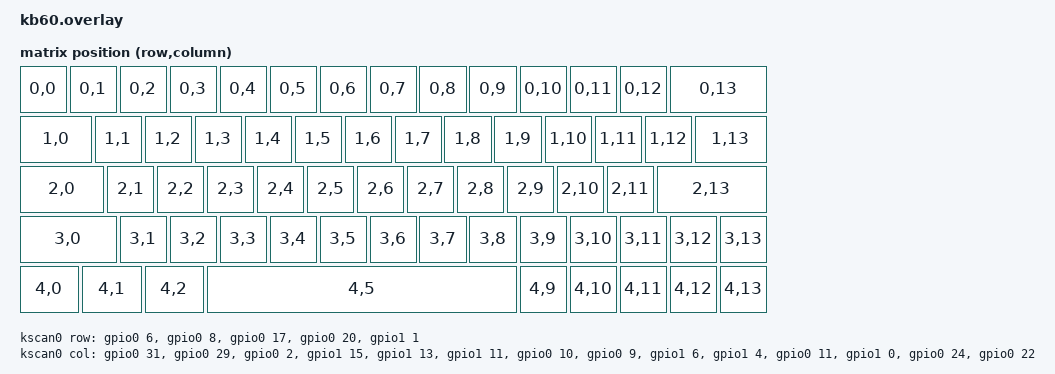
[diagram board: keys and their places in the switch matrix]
#include <dt-bindings/zmk/matrix_transform.h>
#include <physical_layouts.dtsi>

/*
 * 64-key ANSI with an arrow cluster, hand-wired 5 rows x 14 cols. The matrix
 * positions follow the original design (kanefron5/keyboard-manual,
 * LAYOUT_64_ansi): Enter is on col 13, Space on col 5, and the bottom-right
 * keys on cols 9-13.
 * Pins are raw nRF52840 GPIOs (silkscreen "0xx" = &gpio0 xx, "1xx" = &gpio1 xx).
 */
/ {
    chosen {
        zmk,kscan = &kscan0;
        zmk,physical-layout = &layout0;
    };

    kscan0: kscan0 {
        compatible = "zmk,kscan-gpio-matrix";
        diode-direction = "col2row";
        wakeup-source;

        col-gpios
            = <&gpio0 31 GPIO_ACTIVE_HIGH>
            , <&gpio0 29 GPIO_ACTIVE_HIGH>
            , <&gpio0 2 GPIO_ACTIVE_HIGH>
            , <&gpio1 15 GPIO_ACTIVE_HIGH>
            , <&gpio1 13 GPIO_ACTIVE_HIGH>
            , <&gpio1 11 GPIO_ACTIVE_HIGH>
            , <&gpio0 10 GPIO_ACTIVE_HIGH>
            , <&gpio0 9 GPIO_ACTIVE_HIGH>
            , <&gpio1 6 GPIO_ACTIVE_HIGH>
            , <&gpio1 4 GPIO_ACTIVE_HIGH>
            , <&gpio0 11 GPIO_ACTIVE_HIGH>
            , <&gpio1 0 GPIO_ACTIVE_HIGH>
            , <&gpio0 24 GPIO_ACTIVE_HIGH>
            , <&gpio0 22 GPIO_ACTIVE_HIGH>
            ;

        row-gpios
            = <&gpio0 6 (GPIO_ACTIVE_HIGH | GPIO_PULL_DOWN)>
            , <&gpio0 8 (GPIO_ACTIVE_HIGH | GPIO_PULL_DOWN)>
            , <&gpio0 17 (GPIO_ACTIVE_HIGH | GPIO_PULL_DOWN)>
            , <&gpio0 20 (GPIO_ACTIVE_HIGH | GPIO_PULL_DOWN)>
            , <&gpio1 1 (GPIO_ACTIVE_HIGH | GPIO_PULL_DOWN)>
            ;
    };

    xform: matrix_xform {
        compatible = "zmk,matrix-transform";
        columns = <14>;
        rows = <5>;

        map = <
            /* row 0: Esc 1 2 3 4 5 6 7 8 9 0 - = Bksp */
            RC(0,0) RC(0,1) RC(0,2) RC(0,3) RC(0,4) RC(0,5) RC(0,6) RC(0,7) RC(0,8) RC(0,9) RC(0,10) RC(0,11) RC(0,12) RC(0,13)
            /* row 1: Tab Q W E R T Y U I O P [ ] \ */
            RC(1,0) RC(1,1) RC(1,2) RC(1,3) RC(1,4) RC(1,5) RC(1,6) RC(1,7) RC(1,8) RC(1,9) RC(1,10) RC(1,11) RC(1,12) RC(1,13)
            /* row 2: Caps A S D F G H J K L ; ' Enter */
            RC(2,0) RC(2,1) RC(2,2) RC(2,3) RC(2,4) RC(2,5) RC(2,6) RC(2,7) RC(2,8) RC(2,9) RC(2,10) RC(2,11) RC(2,13)
            /* row 3: LShift Z X C V B N M , . / ` Up Del */
            RC(3,0) RC(3,1) RC(3,2) RC(3,3) RC(3,4) RC(3,5) RC(3,6) RC(3,7) RC(3,8) RC(3,9) RC(3,10) RC(3,11) RC(3,12) RC(3,13)
            /* row 4: LCtrl LGui LAlt Space RAlt Fn Left Down Right */
            RC(4,0) RC(4,1) RC(4,2) RC(4,5) RC(4,9) RC(4,10) RC(4,11) RC(4,12) RC(4,13)
        >;
    };

    layout0: layout0 {
        compatible = "zmk,physical-layout";
        display-name = "ANSI 64";
        transform = <&xform>;

        keys
            = <&key_physical_attrs 100 100    0   0 0 0 0>
            , <&key_physical_attrs 100 100  100   0 0 0 0>
            , <&key_physical_attrs 100 100  200   0 0 0 0>
            , <&key_physical_attrs 100 100  300   0 0 0 0>
            , <&key_physical_attrs 100 100  400   0 0 0 0>
            , <&key_physical_attrs 100 100  500   0 0 0 0>
            , <&key_physical_attrs 100 100  600   0 0 0 0>
            , <&key_physical_attrs 100 100  700   0 0 0 0>
            , <&key_physical_attrs 100 100  800   0 0 0 0>
            , <&key_physical_attrs 100 100  900   0 0 0 0>
            , <&key_physical_attrs 100 100 1000   0 0 0 0>
            , <&key_physical_attrs 100 100 1100   0 0 0 0>
            , <&key_physical_attrs 100 100 1200   0 0 0 0>
            , <&key_physical_attrs 200 100 1300   0 0 0 0>
            , <&key_physical_attrs 150 100    0 100 0 0 0>
            , <&key_physical_attrs 100 100  150 100 0 0 0>
            , <&key_physical_attrs 100 100  250 100 0 0 0>
            , <&key_physical_attrs 100 100  350 100 0 0 0>
            , <&key_physical_attrs 100 100  450 100 0 0 0>
            , <&key_physical_attrs 100 100  550 100 0 0 0>
            , <&key_physical_attrs 100 100  650 100 0 0 0>
            , <&key_physical_attrs 100 100  750 100 0 0 0>
            , <&key_physical_attrs 100 100  850 100 0 0 0>
            , <&key_physical_attrs 100 100  950 100 0 0 0>
            , <&key_physical_attrs 100 100 1050 100 0 0 0>
            , <&key_physical_attrs 100 100 1150 100 0 0 0>
            , <&key_physical_attrs 100 100 1250 100 0 0 0>
            , <&key_physical_attrs 150 100 1350 100 0 0 0>
            , <&key_physical_attrs 175 100    0 200 0 0 0>
            , <&key_physical_attrs 100 100  175 200 0 0 0>
            , <&key_physical_attrs 100 100  275 200 0 0 0>
            , <&key_physical_attrs 100 100  375 200 0 0 0>
            , <&key_physical_attrs 100 100  475 200 0 0 0>
            , <&key_physical_attrs 100 100  575 200 0 0 0>
            , <&key_physical_attrs 100 100  675 200 0 0 0>
            , <&key_physical_attrs 100 100  775 200 0 0 0>
            , <&key_physical_attrs 100 100  875 200 0 0 0>
            , <&key_physical_attrs 100 100  975 200 0 0 0>
            , <&key_physical_attrs 100 100 1075 200 0 0 0>
            , <&key_physical_attrs 100 100 1175 200 0 0 0>
            , <&key_physical_attrs 225 100 1275 200 0 0 0>
            , <&key_physical_attrs 200 100    0 300 0 0 0>
            , <&key_physical_attrs 100 100  200 300 0 0 0>
            , <&key_physical_attrs 100 100  300 300 0 0 0>
            , <&key_physical_attrs 100 100  400 300 0 0 0>
            , <&key_physical_attrs 100 100  500 300 0 0 0>
            , <&key_physical_attrs 100 100  600 300 0 0 0>
            , <&key_physical_attrs 100 100  700 300 0 0 0>
            , <&key_physical_attrs 100 100  800 300 0 0 0>
            , <&key_physical_attrs 100 100  900 300 0 0 0>
            , <&key_physical_attrs 100 100 1000 300 0 0 0>
            , <&key_physical_attrs 100 100 1100 300 0 0 0>
            , <&key_physical_attrs 100 100 1200 300 0 0 0>
            , <&key_physical_attrs 100 100 1300 300 0 0 0>
            , <&key_physical_attrs 100 100 1400 300 0 0 0>
            , <&key_physical_attrs 125 100    0 400 0 0 0>
            , <&key_physical_attrs 125 100  125 400 0 0 0>
            , <&key_physical_attrs 125 100  250 400 0 0 0>
            , <&key_physical_attrs 625 100  375 400 0 0 0>
            , <&key_physical_attrs 100 100 1000 400 0 0 0>
            , <&key_physical_attrs 100 100 1100 400 0 0 0>
            , <&key_physical_attrs 100 100 1200 400 0 0 0>
            , <&key_physical_attrs 100 100 1300 400 0 0 0>
            , <&key_physical_attrs 100 100 1400 400 0 0 0>
            ;
    };
};
